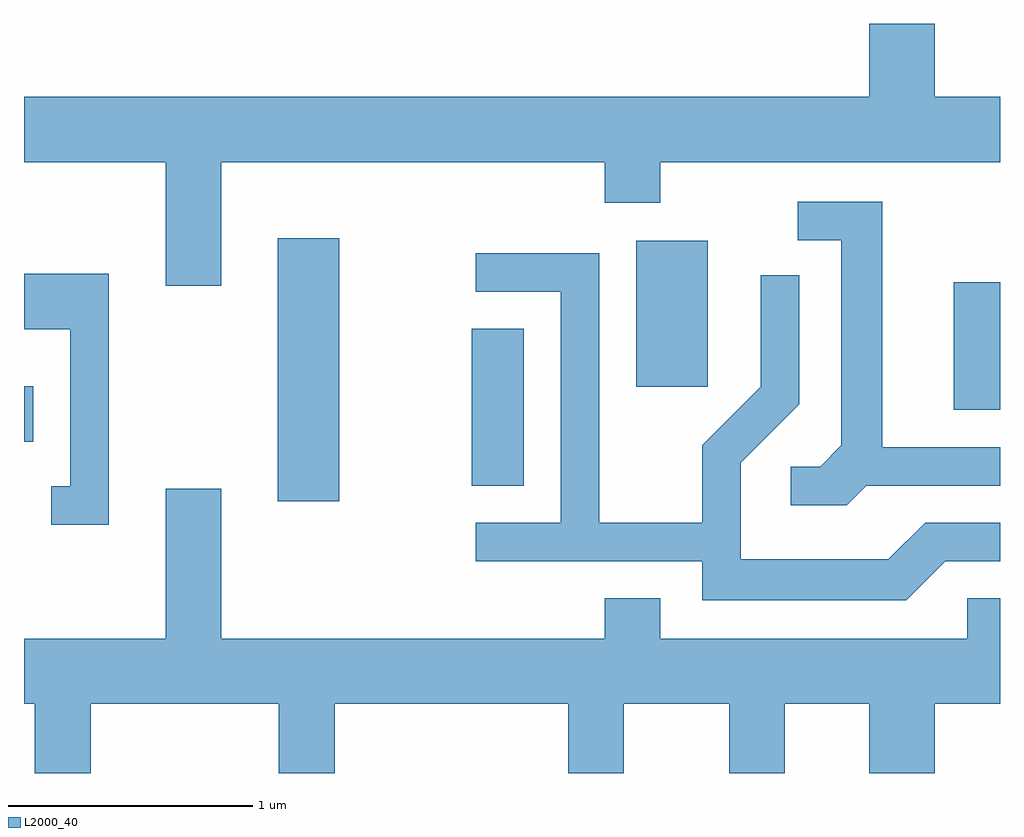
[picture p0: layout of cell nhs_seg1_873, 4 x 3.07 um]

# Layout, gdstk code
import gdstk
lib = gdstk.Library(unit=1e-6, precision=1e-09)
def R(c, l, rs):  # rectangles x0, y0, x1, y1
    for r in rs: c.add(gdstk.rectangle(r[:2], r[2:], *l))
def P(c, l, *ps):  # polygons
    for p in ps: c.add(gdstk.Polygon(p, *l))
L2000_40 = (2000, 40)

nhs_seg1_873 = lib.new_cell('nhs_seg1_873')
R(nhs_seg1_873, L2000_40, [(212.651,924.826,212.904,925.904), (213.446,924.891,213.659,925.534), (211.611,925.071,211.649,925.299), (215.421,925.201,215.611,925.724), (214.121,925.296,214.414,925.894)])
P(nhs_seg1_873, L2000_40, [(212.419,926.216),(213.991,926.216),(213.991,926.051),(214.219,926.051),(214.219,926.216),(215.611,926.216),(215.611,926.484),(215.344,926.484),(215.344,926.784),(215.076,926.784),(215.076,926.484),(211.611,926.484),(211.611,926.216),(212.191,926.216),(212.191,925.711),(212.419,925.711)],
  [(215.062,924.891),(215.611,924.891),(215.611,925.049),(215.129,925.049),(215.129,926.054),(214.783,926.054),(214.783,925.896),(214.961,925.896),(214.961,925.057),(214.874,924.969),(214.753,924.969),(214.753,924.811),(214.982,924.811)],
  [(215.387,924.581),(215.611,924.581),(215.611,924.739),(215.304,924.739),(215.154,924.589),(214.549,924.589),(214.549,924.984),(214.789,925.224),(214.789,925.753),(214.631,925.753),(214.631,925.297),(214.391,925.057),(214.391,924.739),(213.969,924.739),(213.969,925.844),(213.463,925.844),(213.463,925.686),(213.811,925.686),(213.811,924.739),(213.463,924.739),(213.463,924.581),(214.391,924.581),(214.391,924.421),(215.227,924.421)],
  [(211.959,925.759),(211.611,925.759),(211.611,925.531),(211.801,925.531),(211.801,924.889),(211.723,924.889),(211.723,924.731),(211.959,924.731)],
  [(211.884,923.996),(212.656,923.996),(212.656,923.712),(212.884,923.712),(212.884,923.996),(213.841,923.996),(213.841,923.712),(214.069,923.712),(214.069,923.996),(214.501,923.996),(214.501,923.712),(214.729,923.712),(214.729,923.996),(215.076,923.996),(215.076,923.712),(215.344,923.712),(215.344,923.996),(215.611,923.996),(215.611,924.429),(215.476,924.429),(215.476,924.264),(214.219,924.264),(214.219,924.429),(213.991,924.429),(213.991,924.264),(212.419,924.264),(212.419,924.879),(212.191,924.879),(212.191,924.264),(211.611,924.264),(211.611,923.996),(211.656,923.996),(211.656,923.712),(211.884,923.712)])

lib.write_gds('nhs_seg1_873.gds')
